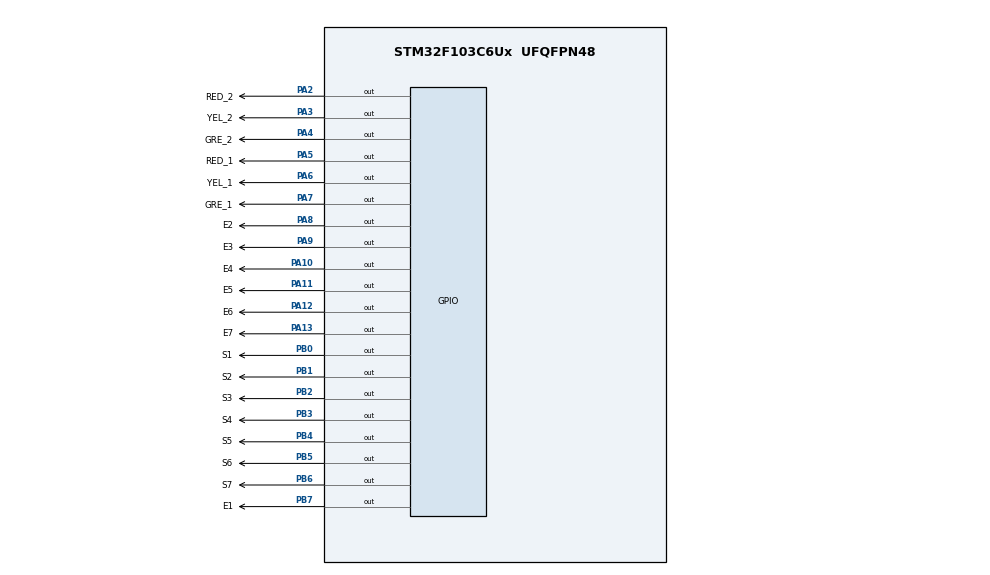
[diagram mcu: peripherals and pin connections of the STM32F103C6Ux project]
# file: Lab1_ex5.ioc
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Mcu.Family=STM32F1
Mcu.Name=STM32F103C6Ux
Mcu.Package=UFQFPN48
NVIC.PriorityGroup=NVIC_PRIORITYGROUP_4
PA10.GPIO_Label=E4
PA10.Signal=GPIO_Output
PA11.GPIO_Label=E5
PA11.Signal=GPIO_Output
PA12.GPIO_Label=E6
PA12.Signal=GPIO_Output
PA13.GPIO_Label=E7
PA13.Signal=GPIO_Output
PA2.GPIO_Label=RED_2
PA2.Signal=GPIO_Output
PA3.GPIO_Label=YEL_2
PA3.Signal=GPIO_Output
PA4.GPIO_Label=GRE_2
PA4.Signal=GPIO_Output
PA5.GPIO_Label=RED_1
PA5.Signal=GPIO_Output
PA6.GPIO_Label=YEL_1
PA6.Signal=GPIO_Output
PA7.GPIO_Label=GRE_1
PA7.Signal=GPIO_Output
PA8.GPIO_Label=E2
PA8.Signal=GPIO_Output
PA9.GPIO_Label=E3
PA9.Signal=GPIO_Output
PB0.GPIO_Label=S1
PB0.Signal=GPIO_Output
PB1.GPIO_Label=S2
PB1.Signal=GPIO_Output
PB2.GPIO_Label=S3
PB2.Signal=GPIO_Output
PB3.GPIO_Label=S4
PB3.Signal=GPIO_Output
PB4.GPIO_Label=S5
PB4.Signal=GPIO_Output
PB5.GPIO_Label=S6
PB5.Signal=GPIO_Output
PB6.GPIO_Label=S7
PB6.Signal=GPIO_Output
PB7.GPIO_Label=E1
PB7.Signal=GPIO_Output
ProjectManager.HeapSize=0x200
ProjectManager.StackSize=0x400
ProjectManager.TargetToolchain=STM32CubeIDE
RCC.APB1Freq_Value=8000000
RCC.APB2Freq_Value=8000000
VP_SYS_VS_ND.Mode=No_Debug
board=custom

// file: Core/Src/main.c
/* USER CODE BEGIN Header */
/**
  ******************************************************************************
  * @file           : main.c
  * @brief          : Main program body
  ******************************************************************************
  * @attention
  *
  * <h2><center>&copy; Copyright (c) 2023 STMicroelectronics.
  * All rights reserved.</center></h2>
  *
  * This software component is licensed by ST under BSD 3-Clause license,
  * the "License"; You may not use this file except in compliance with the
  * License. You may obtain a copy of the License at:
  *                        opensource.org/licenses/BSD-3-Clause
  *
  ******************************************************************************
  */
/* USER CODE END Header */
#include "main.h"

void SystemClock_Config(void);
static void MX_GPIO_Init(void);

/* USER CODE BEGIN 0 */
enum _2WaysState {
      	RED1_GREEN2,
		RED1_YELLOW2,
		RED2_GREEN1,
		RED2_YELLOW1,
  };
  enum LightState {
	  RED1,
	  GREEN1,
	  YELLOW1,
	  RED2,
	  GREEN2,
	  YELLOW2
  };
  int counter = 3;
  int light_1 = 5;
  int light_2 = 3;
    enum _2WaysState finiteState = RED1_GREEN2;
    void lightState(enum LightState light) {
  	  switch(light) {
  	  case RED1:
  		  HAL_GPIO_WritePin(RED_1_GPIO_Port, RED_1_Pin, 1);
  		  HAL_GPIO_WritePin(YEL_1_GPIO_Port, YEL_1_Pin, 0);
  		  HAL_GPIO_WritePin(GRE_1_GPIO_Port, GRE_1_Pin, 0);
  		  break;
  	  case GREEN1:
  		  HAL_GPIO_WritePin(RED_1_GPIO_Port, RED_1_Pin, 0);
  		  HAL_GPIO_WritePin(YEL_1_GPIO_Port, YEL_1_Pin, 0);
  		  HAL_GPIO_WritePin(GRE_1_GPIO_Port, GRE_1_Pin, 1);
  		  break;
  	  case YELLOW1:
  		  HAL_GPIO_WritePin(RED_1_GPIO_Port, RED_1_Pin, 0);
  		  HAL_GPIO_WritePin(YEL_1_GPIO_Port, YEL_1_Pin, 1);
  		  HAL_GPIO_WritePin(GRE_1_GPIO_Port, GRE_1_Pin, 0);
  		  break;
  	  case RED2:
  		  HAL_GPIO_WritePin(RED_2_GPIO_Port, RED_2_Pin, 1);
  		  HAL_GPIO_WritePin(YEL_2_GPIO_Port, YEL_2_Pin, 0);
  		  HAL_GPIO_WritePin(GRE_2_GPIO_Port, GRE_2_Pin, 0);
  		  break;
  	  case GREEN2:
  		  HAL_GPIO_WritePin(RED_2_GPIO_Port, RED_2_Pin, 0);
  		  HAL_GPIO_WritePin(YEL_2_GPIO_Port, YEL_2_Pin, 0);
  		  HAL_GPIO_WritePin(GRE_2_GPIO_Port, GRE_2_Pin, 1);
  		  break;
  	  case YELLOW2:
  		  HAL_GPIO_WritePin(RED_2_GPIO_Port, RED_2_Pin, 0);
  		  HAL_GPIO_WritePin(YEL_2_GPIO_Port, YEL_2_Pin, 1);
  		  HAL_GPIO_WritePin(GRE_2_GPIO_Port, GRE_2_Pin, 0);
  		  break;
  	  }
    }
void display7SEG_1(int num) {
	switch(num) {
		case 0:
			HAL_GPIO_WritePin(S1_GPIO_Port, S1_Pin, 0);
			HAL_GPIO_WritePin(S2_GPIO_Port, S2_Pin, 0);
			HAL_GPIO_WritePin(S3_GPIO_Port, S3_Pin, 0);
			HAL_GPIO_WritePin(S4_GPIO_Port, S4_Pin, 0);
			HAL_GPIO_WritePin(S5_GPIO_Port, S5_Pin, 0);
			HAL_GPIO_WritePin(S6_GPIO_Port, S6_Pin, 0);
			HAL_GPIO_WritePin(S7_GPIO_Port, S7_Pin, 1);
			break;
		case 1:
			HAL_GPIO_WritePin(S1_GPIO_Port, S1_Pin, 1);
			HAL_GPIO_WritePin(S2_GPIO_Port, S2_Pin, 0);
			HAL_GPIO_WritePin(S3_GPIO_Port, S3_Pin, 0);
			HAL_GPIO_WritePin(S4_GPIO_Port, S4_Pin, 1);
			HAL_GPIO_WritePin(S5_GPIO_Port, S5_Pin, 1);
			HAL_GPIO_WritePin(S6_GPIO_Port, S6_Pin, 1);
			HAL_GPIO_WritePin(S7_GPIO_Port, S7_Pin, 1);
			break;
		case 2:
			HAL_GPIO_WritePin(S1_GPIO_Port, S1_Pin, 0);
			HAL_GPIO_WritePin(S2_GPIO_Port, S2_Pin, 0);
			HAL_GPIO_WritePin(S3_GPIO_Port, S3_Pin, 1);
			HAL_GPIO_WritePin(S4_GPIO_Port, S4_Pin, 0);
			HAL_GPIO_WritePin(S5_GPIO_Port, S5_Pin, 0);
			HAL_GPIO_WritePin(S6_GPIO_Port, S6_Pin, 1);
			HAL_GPIO_WritePin(S7_GPIO_Port, S7_Pin, 0);
			break;
		case 3:
			HAL_GPIO_WritePin(S1_GPIO_Port, S1_Pin, 0);
			HAL_GPIO_WritePin(S2_GPIO_Port, S2_Pin, 0);
			HAL_GPIO_WritePin(S3_GPIO_Port, S3_Pin, 0);
			HAL_GPIO_WritePin(S4_GPIO_Port, S4_Pin, 0);
			HAL_GPIO_WritePin(S5_GPIO_Port, S5_Pin, 1);
			HAL_GPIO_WritePin(S6_GPIO_Port, S6_Pin, 1);
			HAL_GPIO_WritePin(S7_GPIO_Port, S7_Pin, 0);
			break;
		case 4:
			HAL_GPIO_WritePin(S1_GPIO_Port, S1_Pin, 1);
			HAL_GPIO_WritePin(S2_GPIO_Port, S2_Pin, 0);
			HAL_GPIO_WritePin(S3_GPIO_Port, S3_Pin, 0);
			HAL_GPIO_WritePin(S4_GPIO_Port, S4_Pin, 1);
			HAL_GPIO_WritePin(S5_GPIO_Port, S5_Pin, 1);
			HAL_GPIO_WritePin(S6_GPIO_Port, S6_Pin, 0);
			HAL_GPIO_WritePin(S7_GPIO_Port, S7_Pin, 0);
			break;
		case 5:
			HAL_GPIO_WritePin(S1_GPIO_Port, S1_Pin, 0);
			HAL_GPIO_WritePin(S2_GPIO_Port, S2_Pin, 1);
			HAL_GPIO_WritePin(S3_GPIO_Port, S3_Pin, 0);
			HAL_GPIO_WritePin(S4_GPIO_Port, S4_Pin, 0);
			HAL_GPIO_WritePin(S5_GPIO_Port, S5_Pin, 1);
			HAL_GPIO_WritePin(S6_GPIO_Port, S6_Pin, 0);
			HAL_GPIO_WritePin(S7_GPIO_Port, S7_Pin, 0);
			break;
		case 6:
			HAL_GPIO_WritePin(S1_GPIO_Port, S1_Pin, 0);
			HAL_GPIO_WritePin(S2_GPIO_Port, S2_Pin, 1);
			HAL_GPIO_WritePin(S3_GPIO_Port, S3_Pin, 0);
			HAL_GPIO_WritePin(S4_GPIO_Port, S4_Pin, 0);
			HAL_GPIO_WritePin(S5_GPIO_Port, S5_Pin, 0);
			HAL_GPIO_WritePin(S6_GPIO_Port, S6_Pin, 0);
			HAL_GPIO_WritePin(S7_GPIO_Port, S7_Pin, 0);
			break;
		case 7:
			HAL_GPIO_WritePin(S1_GPIO_Port, S1_Pin, 0);
			HAL_GPIO_WritePin(S2_GPIO_Port, S2_Pin, 0);
			HAL_GPIO_WritePin(S3_GPIO_Port, S3_Pin, 0);
			HAL_GPIO_WritePin(S4_GPIO_Port, S4_Pin, 1);
			HAL_GPIO_WritePin(S5_GPIO_Port, S5_Pin, 1);
			HAL_GPIO_WritePin(S6_GPIO_Port, S6_Pin, 1);
			HAL_GPIO_WritePin(S7_GPIO_Port, S7_Pin, 1);
			break;
		case 8:
			HAL_GPIO_WritePin(S1_GPIO_Port, S1_Pin, 0);
			HAL_GPIO_WritePin(S2_GPIO_Port, S2_Pin, 0);
			HAL_GPIO_WritePin(S3_GPIO_Port, S3_Pin, 0);
			HAL_GPIO_WritePin(S4_GPIO_Port, S4_Pin, 0);
			HAL_GPIO_WritePin(S5_GPIO_Port, S5_Pin, 0);
			HAL_GPIO_WritePin(S6_GPIO_Port, S6_Pin, 0);
			HAL_GPIO_WritePin(S7_GPIO_Port, S7_Pin, 0);
			break;
		case 9:
			HAL_GPIO_WritePin(S1_GPIO_Port, S1_Pin, 0);
			HAL_GPIO_WritePin(S2_GPIO_Port, S2_Pin, 0);
			HAL_GPIO_WritePin(S3_GPIO_Port, S3_Pin, 0);
			HAL_GPIO_WritePin(S4_GPIO_Port, S4_Pin, 0);
			HAL_GPIO_WritePin(S5_GPIO_Port, S5_Pin, 1);
			HAL_GPIO_WritePin(S6_GPIO_Port, S6_Pin, 0);
			HAL_GPIO_WritePin(S7_GPIO_Port, S7_Pin, 0);
			break;
		default:
			HAL_GPIO_WritePin(S1_GPIO_Port, S1_Pin, 0);
			HAL_GPIO_WritePin(S2_GPIO_Port, S2_Pin, 0);
			HAL_GPIO_WritePin(S3_GPIO_Port, S3_Pin, 0);
			HAL_GPIO_WritePin(S4_GPIO_Port, S4_Pin, 0);
			HAL_GPIO_WritePin(S5_GPIO_Port, S5_Pin, 0);
			HAL_GPIO_WritePin(S6_GPIO_Port, S6_Pin, 0);
			HAL_GPIO_WritePin(S7_GPIO_Port, S7_Pin, 0);
			break;

	}
}
void display7SEG_2(int num) {
	switch(num) {
		case 0:
			HAL_GPIO_WritePin(E1_GPIO_Port, E1_Pin, 0);
			HAL_GPIO_WritePin(E2_GPIO_Port, E2_Pin, 0);
			HAL_GPIO_WritePin(E3_GPIO_Port, E3_Pin, 0);
			HAL_GPIO_WritePin(E4_GPIO_Port, E4_Pin, 0);
			HAL_GPIO_WritePin(E5_GPIO_Port, E5_Pin, 0);
			HAL_GPIO_WritePin(E6_GPIO_Port, E6_Pin, 0);
			HAL_GPIO_WritePin(E7_GPIO_Port, E7_Pin, 1);
			break;
		case 1:
			HAL_GPIO_WritePin(E1_GPIO_Port, E1_Pin, 1);
			HAL_GPIO_WritePin(E2_GPIO_Port, E2_Pin, 0);
			HAL_GPIO_WritePin(E3_GPIO_Port, E3_Pin, 0);
			HAL_GPIO_WritePin(E4_GPIO_Port, E4_Pin, 1);
			HAL_GPIO_WritePin(E5_GPIO_Port, E5_Pin, 1);
			HAL_GPIO_WritePin(E6_GPIO_Port, E6_Pin, 1);
			HAL_GPIO_WritePin(E7_GPIO_Port, E7_Pin, 1);
			break;
		case 2:
			HAL_GPIO_WritePin(E1_GPIO_Port, E1_Pin, 0);
			HAL_GPIO_WritePin(E2_GPIO_Port, E2_Pin, 0);
			HAL_GPIO_WritePin(E3_GPIO_Port, E3_Pin, 1);
			HAL_GPIO_WritePin(E4_GPIO_Port, E4_Pin, 0);
			HAL_GPIO_WritePin(E5_GPIO_Port, E5_Pin, 0);
			HAL_GPIO_WritePin(E6_GPIO_Port, E6_Pin, 1);
			HAL_GPIO_WritePin(E7_GPIO_Port, E7_Pin, 0);
			break;
		case 3:
			HAL_GPIO_WritePin(E1_GPIO_Port, E1_Pin, 0);
			HAL_GPIO_WritePin(E2_GPIO_Port, E2_Pin, 0);
			HAL_GPIO_WritePin(E3_GPIO_Port, E3_Pin, 0);
			HAL_GPIO_WritePin(E4_GPIO_Port, E4_Pin, 0);
			HAL_GPIO_WritePin(E5_GPIO_Port, E5_Pin, 1);
			HAL_GPIO_WritePin(E6_GPIO_Port, E6_Pin, 1);
			HAL_GPIO_WritePin(E7_GPIO_Port, E7_Pin, 0);
			break;
		case 4:
			HAL_GPIO_WritePin(E1_GPIO_Port, E1_Pin, 1);
			HAL_GPIO_WritePin(E2_GPIO_Port, E2_Pin, 0);
			HAL_GPIO_WritePin(E3_GPIO_Port, E3_Pin, 0);
			HAL_GPIO_WritePin(E4_GPIO_Port, E4_Pin, 1);
			HAL_GPIO_WritePin(E5_GPIO_Port, E5_Pin, 1);
			HAL_GPIO_WritePin(E6_GPIO_Port, E6_Pin, 0);
			HAL_GPIO_WritePin(E7_GPIO_Port, E7_Pin, 0);
			break;
		case 5:
			HAL_GPIO_WritePin(E1_GPIO_Port, E1_Pin, 0);
			HAL_GPIO_WritePin(E2_GPIO_Port, E2_Pin, 1);
			HAL_GPIO_WritePin(E3_GPIO_Port, E3_Pin, 0);
			HAL_GPIO_WritePin(E4_GPIO_Port, E4_Pin, 0);
			HAL_GPIO_WritePin(E5_GPIO_Port, E5_Pin, 1);
			HAL_GPIO_WritePin(E6_GPIO_Port, E6_Pin, 0);
			HAL_GPIO_WritePin(E7_GPIO_Port, E7_Pin, 0);
			break;
		case 6:
			HAL_GPIO_WritePin(E1_GPIO_Port, E1_Pin, 0);
			HAL_GPIO_WritePin(E2_GPIO_Port, E2_Pin, 1);
			HAL_GPIO_WritePin(E3_GPIO_Port, E3_Pin, 0);
			HAL_GPIO_WritePin(E4_GPIO_Port, E4_Pin, 0);
			HAL_GPIO_WritePin(E5_GPIO_Port, E5_Pin, 0);
			HAL_GPIO_WritePin(E6_GPIO_Port, E6_Pin, 0);
			HAL_GPIO_WritePin(E7_GPIO_Port, E7_Pin, 0);
			break;
		case 7:
			HAL_GPIO_WritePin(E1_GPIO_Port, E1_Pin, 0);
			HAL_GPIO_WritePin(E2_GPIO_Port, E2_Pin, 0);
			HAL_GPIO_WritePin(E3_GPIO_Port, E3_Pin, 0);
			HAL_GPIO_WritePin(E4_GPIO_Port, E4_Pin, 1);
			HAL_GPIO_WritePin(E5_GPIO_Port, E5_Pin, 1);
			HAL_GPIO_WritePin(E6_GPIO_Port, E6_Pin, 1);
			HAL_GPIO_WritePin(E7_GPIO_Port, E7_Pin, 1);
			break;
		case 8:
			HAL_GPIO_WritePin(E1_GPIO_Port, E1_Pin, 0);
			HAL_GPIO_WritePin(E2_GPIO_Port, E2_Pin, 0);
			HAL_GPIO_WritePin(E3_GPIO_Port, E3_Pin, 0);
			HAL_GPIO_WritePin(E4_GPIO_Port, E4_Pin, 0);
			HAL_GPIO_WritePin(E5_GPIO_Port, E5_Pin, 0);
			HAL_GPIO_WritePin(E6_GPIO_Port, E6_Pin, 0);
			HAL_GPIO_WritePin(E7_GPIO_Port, E7_Pin, 0);
			break;
		case 9:
			HAL_GPIO_WritePin(E1_GPIO_Port, E1_Pin, 0);
			HAL_GPIO_WritePin(E2_GPIO_Port, E2_Pin, 0);
			HAL_GPIO_WritePin(E3_GPIO_Port, E3_Pin, 0);
			HAL_GPIO_WritePin(E4_GPIO_Port, E4_Pin, 0);
			HAL_GPIO_WritePin(E5_GPIO_Port, E5_Pin, 1);
			HAL_GPIO_WritePin(E6_GPIO_Port, E6_Pin, 0);
			HAL_GPIO_WritePin(E7_GPIO_Port, E7_Pin, 0);
			break;
		default:
			HAL_GPIO_WritePin(E1_GPIO_Port, E1_Pin, 0);
			HAL_GPIO_WritePin(E2_GPIO_Port, E2_Pin, 0);
			HAL_GPIO_WritePin(E3_GPIO_Port, E3_Pin, 0);
			HAL_GPIO_WritePin(E4_GPIO_Port, E4_Pin, 0);
			HAL_GPIO_WritePin(E5_GPIO_Port, E5_Pin, 0);
			HAL_GPIO_WritePin(E6_GPIO_Port, E6_Pin, 0);
			HAL_GPIO_WritePin(E7_GPIO_Port, E7_Pin, 0);
			break;

	}
}
/* USER CODE END 0 */

int main(void)
{

  /* MCU Configuration--------------------------------------------------------*/

  /* Reset of all peripherals, Initializes the Flash interface and the Systick. */
  HAL_Init();

  /* Configure the system clock */
  SystemClock_Config();

  /* Initialize all configured peripherals */
  MX_GPIO_Init();

  /* Infinite loop */
  /* USER CODE BEGIN WHILE */
  while (1)
    {

  	  display7SEG_1(light_1);
  	  display7SEG_2(light_2);
  	  switch (finiteState) {
  	  case RED1_GREEN2:
  		  lightState(RED1);
  		  lightState(GREEN2);
  		  if(counter == 0) {
  			  finiteState = RED1_YELLOW2;
  			  counter = 2;
  			  light_2 = 2;
  		  }
  		  break;
  	  case RED1_YELLOW2:
  		  lightState(RED1);
  		  lightState(YELLOW2);
  		  if(counter == 0) {
  			  finiteState = RED2_GREEN1;
  			  counter = 3;
  			  light_1 = 3;
  			  light_2 = 5;
  		  }
  		  break;
  	  case RED2_GREEN1:
  		  lightState(RED2);
  		  lightState(GREEN1);
  		  if(counter == 0) {
  			  finiteState = RED2_YELLOW1;
  			  counter = 2;
  			  light_1 = 2;
  		  }
  		  break;
  	  case RED2_YELLOW1:
  		  lightState(RED2);
  		  lightState(YELLOW1);
  		  if(counter == 0) {
  			  finiteState = RED1_GREEN2;
  			  counter = 3;
  			  light_1 = 5;
  			  light_2 = 3;
  		  }
  		  break;
  	  }
  	  HAL_Delay(1000);
  	  counter--;
  	  light_1--;
  	  light_2--;
      /* USER CODE END WHILE */

    }
}

void SystemClock_Config(void)
{
  RCC_OscInitTypeDef RCC_OscInitStruct = {0};
  RCC_ClkInitTypeDef RCC_ClkInitStruct = {0};

  /** Initializes the RCC Oscillators according to the specified parameters
  * in the RCC_OscInitTypeDef structure.
  */
  RCC_OscInitStruct.OscillatorType = RCC_OSCILLATORTYPE_HSI;
  RCC_OscInitStruct.HSIState = RCC_HSI_ON;
  RCC_OscInitStruct.HSICalibrationValue = RCC_HSICALIBRATION_DEFAULT;
  RCC_OscInitStruct.PLL.PLLState = RCC_PLL_NONE;
  if (HAL_RCC_OscConfig(&RCC_OscInitStruct) != HAL_OK)
  {
    Error_Handler();
  }
  /** Initializes the CPU, AHB and APB buses clocks
  */
  RCC_ClkInitStruct.ClockType = RCC_CLOCKTYPE_HCLK|RCC_CLOCKTYPE_SYSCLK
                              |RCC_CLOCKTYPE_PCLK1|RCC_CLOCKTYPE_PCLK2;
  RCC_ClkInitStruct.SYSCLKSource = RCC_SYSCLKSOURCE_HSI;
  RCC_ClkInitStruct.AHBCLKDivider = RCC_SYSCLK_DIV1;
  RCC_ClkInitStruct.APB1CLKDivider = RCC_HCLK_DIV1;
  RCC_ClkInitStruct.APB2CLKDivider = RCC_HCLK_DIV1;

  if (HAL_RCC_ClockConfig(&RCC_ClkInitStruct, FLASH_LATENCY_0) != HAL_OK)
  {
    Error_Handler();
  }
}

static void MX_GPIO_Init(void)
{
  GPIO_InitTypeDef GPIO_InitStruct = {0};

  /* GPIO Ports Clock Enable */
  __HAL_RCC_GPIOA_CLK_ENABLE();
  __HAL_RCC_GPIOB_CLK_ENABLE();

  /*Configure GPIO pin Output Level */
  HAL_GPIO_WritePin(GPIOA, RED_2_Pin|YEL_2_Pin|GRE_2_Pin|RED_1_Pin
                          |YEL_1_Pin|GRE_1_Pin|E2_Pin|E3_Pin
                          |E4_Pin|E5_Pin|E6_Pin|E7_Pin, GPIO_PIN_SET);

  /*Configure GPIO pin Output Level */
  HAL_GPIO_WritePin(GPIOB, S1_Pin|S2_Pin|S3_Pin|S4_Pin
                          |S5_Pin|S6_Pin|S7_Pin|E1_Pin, GPIO_PIN_SET);

  /*Configure GPIO pins : RED_2_Pin YEL_2_Pin GRE_2_Pin RED_1_Pin
                           YEL_1_Pin GRE_1_Pin E2_Pin E3_Pin
                           E4_Pin E5_Pin E6_Pin E7_Pin */
  GPIO_InitStruct.Pin = RED_2_Pin|YEL_2_Pin|GRE_2_Pin|RED_1_Pin
                          |YEL_1_Pin|GRE_1_Pin|E2_Pin|E3_Pin
                          |E4_Pin|E5_Pin|E6_Pin|E7_Pin;
  GPIO_InitStruct.Mode = GPIO_MODE_OUTPUT_PP;
  GPIO_InitStruct.Pull = GPIO_NOPULL;
  GPIO_InitStruct.Speed = GPIO_SPEED_FREQ_LOW;
  HAL_GPIO_Init(GPIOA, &GPIO_InitStruct);

  /*Configure GPIO pins : S1_Pin S2_Pin S3_Pin S4_Pin
                           S5_Pin S6_Pin S7_Pin E1_Pin */
  GPIO_InitStruct.Pin = S1_Pin|S2_Pin|S3_Pin|S4_Pin
                          |S5_Pin|S6_Pin|S7_Pin|E1_Pin;
  GPIO_InitStruct.Mode = GPIO_MODE_OUTPUT_PP;
  GPIO_InitStruct.Pull = GPIO_NOPULL;
  GPIO_InitStruct.Speed = GPIO_SPEED_FREQ_LOW;
  HAL_GPIO_Init(GPIOB, &GPIO_InitStruct);

}

void Error_Handler(void)
{
  __disable_irq();
  while (1)
  {
  }
}

/************************ (C) COPYRIGHT STMicroelectronics *****END OF FILE****/
